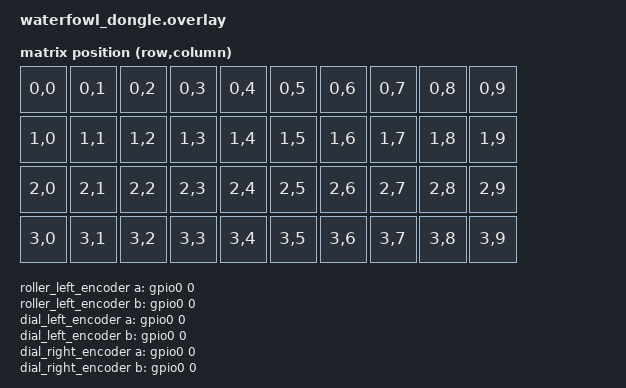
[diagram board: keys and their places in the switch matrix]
/*
 * Waterfowl dongle (e.g. Prospector on a XIAO nRF52840).
 *
 * No keys of its own: a mock kscan stands in, and the matrix transform and
 * sensor list mirror ZMK's waterfowl.dtsi so key positions and encoder
 * indices reported by the halves line up with the shared keymap.
 */

#include <dt-bindings/zmk/matrix_transform.h>

/ {
    chosen {
        zmk,kscan = &mock_kscan;
        zmk,matrix-transform = &default_transform;
    };

    mock_kscan: mock_kscan_0 {
        compatible = "zmk,kscan-mock";
        columns = <0>;
        rows = <0>;
        events = <0>;
    };

    default_transform: keymap_transform_0 {
        compatible = "zmk,matrix-transform";
        columns = <16>;
        rows = <4>;
        map = <
RC(0,0) RC(0,1) RC(0,2) RC(0,3) RC(0,4)    RC(0,5) RC(0,6) RC(0,7) RC(0,8) RC(0,9)
RC(1,0) RC(1,1) RC(1,2) RC(1,3) RC(1,4)    RC(1,5) RC(1,6) RC(1,7) RC(1,8) RC(1,9)
RC(2,0) RC(2,1) RC(2,2) RC(2,3) RC(2,4)    RC(2,5) RC(2,6) RC(2,7) RC(2,8) RC(2,9)
RC(3,0) RC(3,1) RC(3,2) RC(3,3) RC(3,4)    RC(3,5) RC(3,6) RC(3,7) RC(3,8) RC(3,9)
        >;
    };

    /*
     * Placeholder encoders, disabled: the real ones live on the halves.
     * Only their order in &sensors matters (same as waterfowl.dtsi).
     * The GPIOs are never configured.
     */
    roller_left_encoder: encoder_left_roller {
        compatible = "alps,ec11";
        a-gpios = <&gpio0 0 GPIO_ACTIVE_HIGH>;
        b-gpios = <&gpio0 0 GPIO_ACTIVE_HIGH>;
        steps = <80>;
        status = "disabled";
    };
    dial_left_encoder: encoder_left_dial {
        compatible = "alps,ec11";
        a-gpios = <&gpio0 0 GPIO_ACTIVE_HIGH>;
        b-gpios = <&gpio0 0 GPIO_ACTIVE_HIGH>;
        steps = <80>;
        status = "disabled";
    };
    dial_right_encoder: encoder_right_dial {
        compatible = "alps,ec11";
        a-gpios = <&gpio0 0 GPIO_ACTIVE_HIGH>;
        b-gpios = <&gpio0 0 GPIO_ACTIVE_HIGH>;
        steps = <80>;
        status = "disabled";
    };
    roller_right_encoder: encoder_right_roller {
        compatible = "alps,ec11";
        a-gpios = <&gpio0 0 GPIO_ACTIVE_HIGH>;
        b-gpios = <&gpio0 0 GPIO_ACTIVE_HIGH>;
        steps = <80>;
        status = "disabled";
    };

    sensors: sensors {
        compatible = "zmk,keymap-sensors";
        triggers-per-rotation = <20>;
        sensors = <
            &roller_left_encoder
            &dial_left_encoder
            &dial_right_encoder
            &roller_right_encoder
        >;
    };
};

/* touch on the Prospector's screen, if its four wires are connected */
#include <prospector_touch.dtsi>
